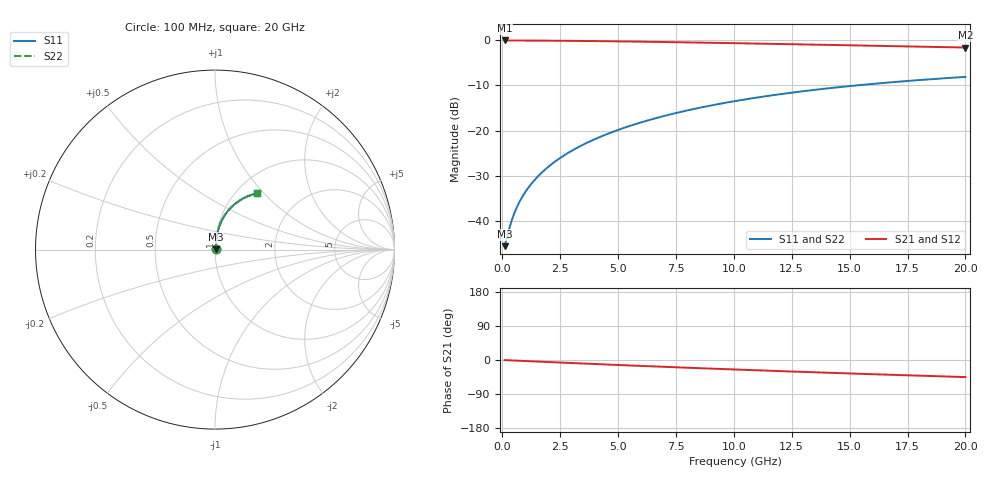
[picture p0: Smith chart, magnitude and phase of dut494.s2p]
! Touchstone file exported from HFSS 2024.1.0
!  File:  C:/UserFiles/LocalFiles/RDL_TSV_Batchsim/temp_RDL_bottom_494_1779686966.aedt
!  Generated:  01:32:09 PM May 25, 2026
!  Design:  RDL_bottom
!  Project:  temp_RDL_bottom_494_1779686966
!  Setup:  Setup1
!  Solution:  Sweep
! Variables:
!  dtsv = 10.80580581um
!  hbump = 3um
!  htsv = 85.77um
!  ldown = 632.57um
!  lrdl = 100um
!  p = 40
!  p1 = 49.29um
!  rhole = 1um
!  t = 450um
!  tdown = 2.2um
!  trdl = 3.915915916um
!  wdown = 22.71um
!  wrdl = 20um
# GHz S MA R 50.000000
! Terminal data exported
! Port[1] = RDL1_T1
! Port[2] = RDL1_T2
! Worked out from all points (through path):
!   200 points, 100 MHz to 20 GHz, reference 50 ohm
!   highest |S21| = -0.04 dB at 100 MHz (marker M1); lowest = -1.6 dB at 20 GHz (marker M2)
!   group delay of S21, straight-line fit = 6.23 ps
!   lowest |S11| = -45.6 dB at 100 MHz (marker M3), VSWR 1.01, Z = 50.5 + j0.223 ohm
!   |S11| at or under -10 dB: start of sweep to 15.27 GHz
!   |S22| runs from -45.6 to -8.1 dB; largest |S21 - S12| = 2.4e-15
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0.1  0.005272 24.7  0.9952 -0.3  0.9952 -0.3  0.005272 24.7
! Gamma 0 0 0 0
! Port Impedance 50 0 50 0
0.3  0.008241 51.8  0.9948 -0.9  0.9948 -0.9  0.008241 51.8
0.4  0.01003 58.1  0.9946 -1.1  0.9946 -1.1  0.01003 58.1
0.6  0.0137 65.5  0.9941 -1.7  0.9941 -1.7  0.0137 65.5
0.7  0.01554 67.9  0.9938 -1.9  0.9938 -1.9  0.01554 67.9
0.9  0.01922 71.3  0.9933 -2.5  0.9933 -2.5  0.01922 71.3
1.2  0.02479 74.8  0.9925 -3.3  0.9925 -3.3  0.02479 74.8
1.4  0.02855 76.4  0.9919 -3.8  0.9919 -3.8  0.02855 76.4
1.7  0.03427 78.1  0.991 -4.6  0.991 -4.6  0.03427 78.1
2.2  0.04398 79.9  0.9891 -5.9  0.9891 -5.9  0.04397 79.9
2.8  0.0559 81.1  0.9865 -7.5  0.9865 -7.5  0.0559 81.1
3.5  0.07016 81.6  0.9827 -9.4  0.9827 -9.4  0.07016 81.6
4.2  0.08477 81.6  0.9783 -11.2  0.9783 -11.2  0.08476 81.6
5  0.1018 81.1  0.9727 -13.2  0.9727 -13.2  0.1018 81.1
5.9  0.1214 80.1  0.9658 -15.4  0.9658 -15.4  0.1214 80.1
6.8  0.1412 78.9  0.9583 -17.6  0.9583 -17.6  0.1411 78.9
8.4  0.1765 76.1  0.944 -21.4  0.944 -21.4  0.1764 76.1
10.1  0.2134 72.8  0.928 -25.2  0.928 -25.2  0.2133 72.8
11.7  0.247 69.6  0.9124 -28.7  0.9124 -28.7  0.2469 69.5
13.4  0.2811 66.0  0.8956 -32.3  0.8956 -32.3  0.281 66.0
16.7  0.3413 59.3  0.863 -38.9  0.863 -38.9  0.3412 59.3
20  0.3932 53.0  0.8311 -45.1  0.8311 -45.1  0.3931 53.0
